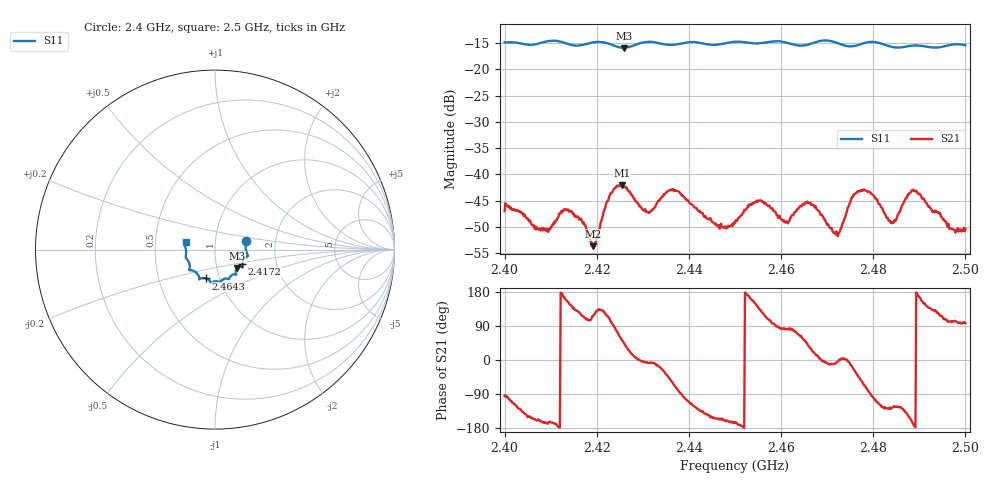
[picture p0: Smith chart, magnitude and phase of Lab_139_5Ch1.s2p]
# Hz S RI R 50
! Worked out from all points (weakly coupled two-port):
!   601 points, 2.4 GHz to 2.5 GHz, reference 50 ohm
!   highest |S21| = -41.98 dB at 2.4255 GHz (marker M1); lowest = -53.7 dB at 2.4192 GHz (marker M2)
!   lowest |S11| = -15.9 dB at 2.4258 GHz (marker M3), VSWR 1.38, Z = 62.3 - j13.3 ohm
!   |S11| at or under -10 dB: start of sweep to end of sweep
!   S12 and S22 are empty: the file has one direction only
!   S11 on the Smith chart (normalised r, x): 2.4 GHz: 1.41, +0.14; 2.4172 GHz: 1.34, -0.22; 2.4643 GHz: 0.86, -0.28; 2.5 GHz: 0.72, +0.06
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2.4e9  0.174 0.049  -0.00037 -0.00446  0 0  0 0
2.407333e9  0.1753 -0.014  -0.00277 -0.00119  0 0  0 0
2.413167e9  0.1729 -0.0423  -0.00432 0.00147  0 0  0 0
2.416667e9  0.1527 -0.0743  -0.00173 0.00326  0 0  0 0
2.417167e9  0.152 -0.0801  -0.00145 0.00317  0 0  0 0
2.419167e9  0.153 -0.0959  -0.00091 0.00187  0 0  0 0
2.422667e9  0.1476 -0.094  -0.00226 0.00563  0 0  0 0
2.4255e9  0.1245 -0.1012  0.00491 0.00626  0 0  0 0
2.425833e9  0.1221 -0.1037  0.00527 0.00541  0 0  0 0
2.430667e9  0.1184 -0.1386  0.00436 -0.000495  0 0  0 0
2.433333e9  0.113 -0.1377  0.00541 -0.00147  0 0  0 0
2.437e9  0.0868 -0.1484  0.00245 -0.00667  0 0  0 0
2.45e9  0.0288 -0.181  -0.00332 -0.00101  0 0  0 0
2.455167e9  0.000317 -0.1768  -0.00406 0.00392  0 0  0 0
2.461e9  -0.0266 -0.1783  0.000509 0.00343  0 0  0 0
2.464333e9  -0.0499 -0.1605  0.00226 0.00446  0 0  0 0
2.466667e9  -0.076 -0.1593  0.00469 0.00227  0 0  0 0
2.472167e9  -0.0886 -0.1549  0.00261 -0.000225  0 0  0 0
2.478e9  -0.1355 -0.1151  0.00291 -0.00659  0 0  0 0
2.483333e9  -0.1406 -0.0896  -0.00223 -0.00287  0 0  0 0
2.488833e9  -0.1622 -0.0464  -0.00708 -0.000877  0 0  0 0
2.5e9  -0.1641 0.0429  -0.000395 0.00301  0 0  0 0
